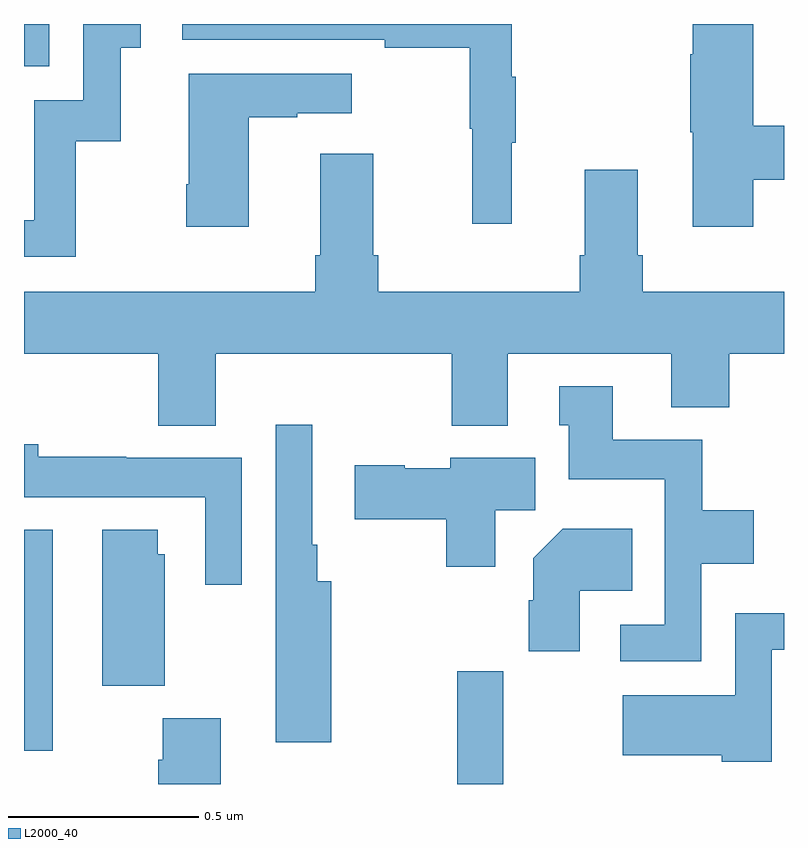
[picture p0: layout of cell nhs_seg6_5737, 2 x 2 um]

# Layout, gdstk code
import gdstk
lib = gdstk.Library(unit=1e-6, precision=1e-09)
def R(c, l, rs):  # rectangles x0, y0, x1, y1
    for r in rs: c.add(gdstk.rectangle(r[:2], r[2:], *l))
def P(c, l, *ps):  # polygons
    for p in ps: c.add(gdstk.Polygon(p, *l))
L2000_40 = (2000, 40)

nhs_seg6_5737 = lib.new_cell('nhs_seg6_5737')
R(nhs_seg6_5737, L2000_40, [(187.14,983.5,187.261,983.797), (186,983.588,186.076,984.169), (186,985.389,186.066,985.5)])
P(nhs_seg6_5737, L2000_40, [(186.136,985.191),(186.254,985.191),(186.254,985.437),(186.307,985.437),(186.307,985.5),(186.156,985.5),(186.156,985.299),(186.027,985.299),(186.027,984.984),(186,984.984),(186,984.888),(186.136,984.888)],
  [(187.919,985.09),(188,985.09),(188,985.232),(187.919,985.232),(187.919,985.5),(187.76,985.5),(187.76,985.421),(187.753,985.421),(187.753,985.215),(187.76,985.215),(187.76,984.966),(187.919,984.966)],
  [(187.283,985.187),(187.294,985.187),(187.294,985.361),(187.283,985.361),(187.283,985.5),(186.417,985.5),(186.417,985.458),(186.949,985.458),(186.949,985.438),(187.173,985.438),(187.173,985.224),(187.18,985.224),(187.18,984.975),(187.283,984.975)],
  [(186.592,985.255),(186.719,985.255),(186.719,985.265),(186.862,985.265),(186.862,985.369),(186.434,985.369),(186.434,985.078),(186.427,985.078),(186.427,984.966),(186.592,984.966)],
  [(186.505,984.632),(187.126,984.632),(187.126,984.443),(187.273,984.443),(187.273,984.632),(187.703,984.632),(187.703,984.491),(187.856,984.491),(187.856,984.632),(188,984.632),(188,984.796),(187.628,984.796),(187.628,984.892),(187.615,984.892),(187.615,985.117),(187.475,985.117),(187.475,984.892),(187.463,984.892),(187.463,984.796),(186.932,984.796),(186.932,984.892),(186.919,984.892),(186.919,985.159),(186.779,985.159),(186.779,984.892),(186.767,984.892),(186.767,984.796),(186,984.796),(186,984.632),(186.353,984.632),(186.353,984.443),(186.505,984.443)],
  [(187.782,984.08),(187.921,984.08),(187.921,984.22),(187.785,984.22),(187.785,984.406),(187.549,984.406),(187.549,984.547),(187.409,984.547),(187.409,984.444),(187.433,984.444),(187.433,984.302),(187.686,984.302),(187.686,983.919),(187.569,983.919),(187.569,983.823),(187.782,983.823)],
  [(186.809,984.034),(186.772,984.034),(186.772,984.13),(186.759,984.13),(186.759,984.445),(186.663,984.445),(186.663,983.93),(186.662,983.93),(186.662,983.61),(186.809,983.61)],
  [(186.573,984.358),(186.269,984.358),(186.269,984.361),(186.038,984.361),(186.038,984.394),(186,984.394),(186,984.254),(186.477,984.254),(186.477,984.024),(186.573,984.024)],
  [(187.24,984.22),(187.345,984.22),(187.345,984.358),(187.122,984.358),(187.122,984.331),(187.002,984.331),(187.002,984.339),(186.87,984.339),(186.87,984.197),(187.111,984.197),(187.111,984.072),(187.24,984.072)],
  [(187.462,984.008),(187.601,984.008),(187.601,984.172),(187.418,984.172),(187.34,984.094),(187.34,983.984),(187.328,983.984),(187.328,983.85),(187.462,983.85)],
  [(186.37,984.105),(186.352,984.105),(186.352,984.169),(186.206,984.169),(186.206,983.758),(186.37,983.758)],
  [(187.968,983.853),(188,983.853),(188,983.95),(187.872,983.95),(187.872,983.734),(187.575,983.734),(187.575,983.576),(187.836,983.576),(187.836,983.558),(187.968,983.558)],
  [(186.518,983.673),(186.365,983.673),(186.365,983.564),(186.353,983.564),(186.353,983.5),(186.518,983.5)])

lib.write_gds('nhs_seg6_5737.gds')
